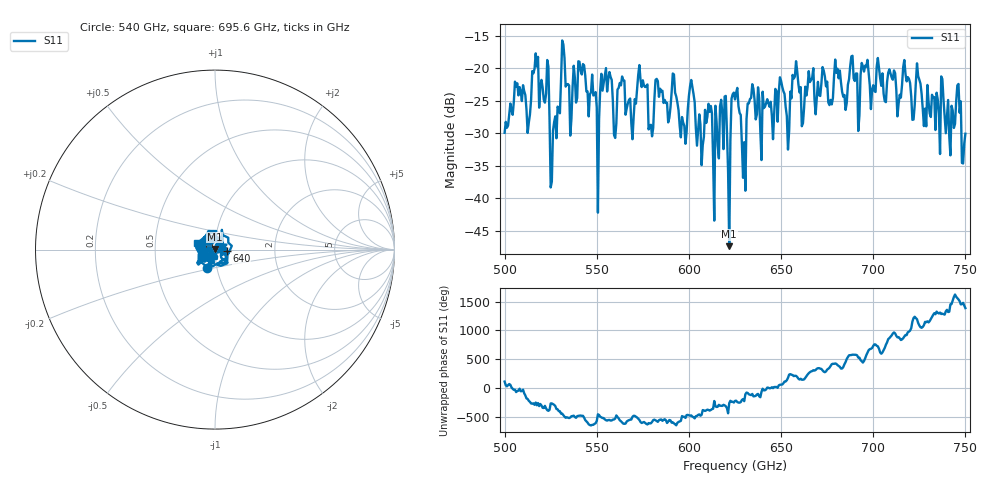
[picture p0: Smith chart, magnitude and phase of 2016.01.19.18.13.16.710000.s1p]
!Created with skrf (http://scikit-rf.org).
# GHz S RI R 50.0
!freq ReS11 ImS11
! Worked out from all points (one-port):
!   401 points, 500 GHz to 750 GHz, reference 50 ohm
!   lowest |S11| = -47.4 dB at 621.9 GHz (marker M1), VSWR 1.01, Z = 49.9 + j0.41 ohm
!   |S11| at or under -10 dB: start of sweep to end of sweep
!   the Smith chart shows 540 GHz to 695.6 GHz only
!   S11 on the Smith chart (normalised r, x): 540 GHz: 0.89, -0.19; 640 GHz: 1.14, -0.02; 695.6 GHz: 0.82, +0.06
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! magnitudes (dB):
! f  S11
! 500 GHz  -30.0
! 506.9 GHz  -22.3
! 513.1 GHz  -28.4
! 516.9 GHz  -17.7
! 526.2 GHz  -29.6
! 531.2 GHz  -15.7
! 540 GHz  -18.9
! 550 GHz  -26.1
! 553.8 GHz  -22.3
! 560 GHz  -30.7
! 562.5 GHz  -22.3
! 579.4 GHz  -28.7
! 593.8 GHz  -25.3
! 601.9 GHz  -22.9
! 614.4 GHz  -25.8
! 618.8 GHz  -32.5
! 621.9 GHz  -47.4
! 625 GHz  -24.8
! 629.4 GHz  -36.9
! 633.8 GHz  -24.6
! 640 GHz  -23.6
! 656.2 GHz  -21.0
! 687.5 GHz  -19.7
! 695.6 GHz  -19.6
! 718.8 GHz  -21.4
! 740.6 GHz  -24.9
! 746.2 GHz  -22.4
! 750 GHz  -30.1
